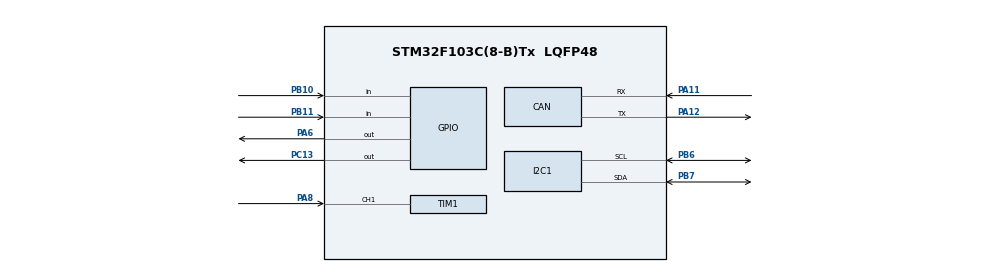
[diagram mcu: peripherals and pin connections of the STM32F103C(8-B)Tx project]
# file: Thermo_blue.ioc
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Mcu.Family=STM32F1
PB10.GPIO_PuPd=GPIO_PULLDOWN
PC13-TAMPER-RTC.Signal=GPIO_Output
PA11.Mode=Master
PA6.PinState=GPIO_PIN_SET
PB11.GPIO_PuPd=GPIO_PULLUP
PB11.Signal=GPIO_Input
CAN.CalculateTimeBit=16000.00
ProjectManager.StackSize=0x400
PA13.Signal=SYS_JTMS-SWDIO
PA12.Signal=CAN_TX
NVIC.USB_HP_CAN1_TX_IRQn=true\:0\:0\:false\:false\:true\:true\:true
CAN.BS1=CAN_BS1_6TQ
TIM1.Prescaler=8-1
SH.S_TIM1_CH1.0=TIM1_CH1,Input_Capture1_from_TI1
ProjectManager.TargetToolchain=EWARM V8.32
RCC.APB2TimFreq_Value=4000000
PB6.Signal=I2C1_SCL
PB6.Mode=I2C
PB10.Signal=GPIO_Input
PB3.Mode=JTAG_4_pins
board=custom
PA15.Mode=JTAG_4_pins
RCC.APB2Freq_Value=2000000
PA6.GPIO_PuPd=GPIO_PULLDOWN
PC13-TAMPER-RTC.PinState=GPIO_PIN_RESET
PA14.Mode=JTAG_4_pins
NVIC.USB_LP_CAN1_RX0_IRQn=true\:0\:0\:false\:false\:true\:true\:true
PB7.Signal=I2C1_SDA
PA8.Signal=S_TIM1_CH1
PA13.Mode=JTAG_4_pins
Mcu.Name=STM32F103C(8-B)Tx
CAN.CalculateTimeQuantum=2000.0
NVIC.TIM1_CC_IRQn=true\:0\:0\:false\:false\:true\:true\:true
PB3.Signal=SYS_JTDO-TRACESWO
Mcu.Package=LQFP48
PA6.Signal=GPIO_Output
PA12.Mode=Master
TIM1.Channel-Input_Capture1_from_TI1=TIM_CHANNEL_1
PB7.Mode=I2C
PA11.Signal=CAN_RX
PA14.Signal=SYS_JTCK-SWCLK
PA15.Signal=SYS_JTDI
ProjectManager.HeapSize=0x200
NVIC.PriorityGroup=NVIC_PRIORITYGROUP_4
RCC.APB2CLKDivider=RCC_HCLK_DIV4
TIM1.Period=0xFFFF-1
PA6.GPIO_Speed=GPIO_SPEED_FREQ_HIGH
RCC.APB1Freq_Value=8000000

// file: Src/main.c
/* USER CODE BEGIN Header */
/**
  ******************************************************************************
  * @file           : main.c
  * @brief          : Main program body
  ******************************************************************************
  * @attention
  *
  * <h2><center>&copy; Copyright (c) 2020 STMicroelectronics.
  * All rights reserved.</center></h2>
  *
  * This software component is licensed by ST under BSD 3-Clause license,
  * the "License"; You may not use this file except in compliance with the
  * License. You may obtain a copy of the License at:
  *                        opensource.org/licenses/BSD-3-Clause
  *
  ******************************************************************************
  */
/* USER CODE END Header */

#include "main.h"
#include "can.h"
#include "i2c.h"
#include "tim.h"
#include "gpio.h"

/* USER CODE BEGIN Includes */
#include <stdio.h>
#include <string.h>
#include "dwt_delay.h"
#include "stm32f1xx_hal_can.h"

#define TRIG_PIN GPIO_PIN_6
#define TRIG_PORT GPIOA
/* USER CODE END Includes */

/* USER CODE BEGIN PTD */

//typedef enum
//{
//  HAL_CAN_STATE_RESET             = 0x00U,  /*!< CAN not yet initialized or disabled */
//  HAL_CAN_STATE_READY             = 0x01U,  /*!< CAN initialized and ready for use   */
//  HAL_CAN_STATE_BUSY              = 0x02U,  /*!< CAN process is ongoing              */
//  HAL_CAN_STATE_BUSY_TX           = 0x12U,  /*!< CAN process is ongoing              */
//  HAL_CAN_STATE_BUSY_RX           = 0x22U,  /*!< CAN process is ongoing              */
//  HAL_CAN_STATE_BUSY_TX_RX        = 0x32U,  /*!< CAN process is ongoing              */
//  HAL_CAN_STATE_TIMEOUT           = 0x03U,  /*!< Timeout state                       */
//  HAL_CAN_STATE_ERROR             = 0x04U   /*!< CAN error state                     */
//
//}HAL_CAN_StateTypeDef;

/* USER CODE END PTD */

void SystemClock_Config(void);

/* USER CODE BEGIN 0 */

CAN_TxHeaderTypeDef    TxHeader1;
//CAN_FilterTypeDef  sFilterConfig;
uint32_t canFifoFulFil;
//HAL_StatusTypeDef HAL_CAN_Transmit_IT(CAN_HandleTypeDef* hcan)

void can_transmit_to(uint8_t *data) {
      /*##-4- Start the Transmission process #####################################*/

  //  TxHeader.TransmitGlobalTime = DISABLE;
      //TxHeader.DLC = sizeof data;
      TxHeader1.DLC = 6;
      TxHeader1.StdId = 0x100;
      //TxHeader.ExtId = 0x1;
      TxHeader1.RTR = CAN_RTR_DATA;
      TxHeader1.IDE = CAN_ID_STD;
//      for (uint8_t i = 0; i < 8; ++i) {
////        TxHeader1.Data[i] = data[i];
//      }
      uint32_t TxMailbox = 0;
      HAL_CAN_AddTxMessage(&hcan, &TxHeader1, data, &TxMailbox);

//      if (hcan.State == HAL_CAN_STATE_LISTENING) {
//        while (hcan.State == HAL_CAN_STATE_LISTENING)
//          __NOP;
//      }
//      else {
//        for (int i = 0; i < 1; i++) {
//          for (int i = 0; i < 15000; i++) {
//            __NOP;
//          }
//        }
//      }
      //HAL_CAN_Transmit_IT(&hcan1);
      //}
//      if (HAL_CAN_AddTxMessage(&hcan, &TxHeader1, data, &TxMailbox) != HAL_OK)
//      {
//              //Error_Handler();
//              canFifoFulFil = 1;
//      }
//      HAL_CAN_GetTxMailboxesFreeLevel(&hcan);

	// Start receiving
	//HAL_CAN_Receive_IT( &hcan, CAN_FIFO0 );
        TxMailbox = 0;
        HAL_CAN_AddTxMessage(&hcan, &TxHeader1, data, &TxMailbox);
  }

//=== CRC ===//
uint8_t crc_8(uint8_t inCrc, uint8_t inData)
{
  uint8_t i;
  uint8_t data;
  data = inCrc ^ inData;
  for ( i = 0; i < 8; i++ )
  {
    if (( data & 0x80 ) != 0 )
    {
      data <<= 1;
      data ^= 0x07;
    }
    else
    {
      data <<= 1;
    }
  }
  return data;
}

uint8_t crc(uint8_t *Data)
{
  uint8_t data = crc_8(0, *Data++);
  data = crc_8(data, *Data++);
  data = crc_8(data, *Data);
  return data;
}

void array_sort(uint16_t *array , uint16_t amount)
{
    // declare some local variables
    uint16_t i=0 , j=0 , temp=0;

    for(i=0 ; i<amount ; i++)
    {
        for(j=0 ; j<amount-1 ; j++)
        {
            if(array[j]>array[j+1])
            {
                temp        = array[j];
                array[j]    = array[j+1];
                array[j+1]  = temp;
            }
        }
    }
}

//=== Convert temp from Kelvin to Celsius
//=== and make value adjustment
float adjust_temp(uint8_t msb_temp, uint8_t lsb_temp) {
  float data_temp = (float)(msb_temp << 8 | lsb_temp);
//  printf("msb %d\n", msb_temp);
//  printf("msb %d\n", lsb_temp);
//  printf("ADJ before %.4F\n", data_temp);
  data_temp = (data_temp - 13658) / 50;
//  printf("ADJ %.4F\n", data_temp);
  float adjusted_temp = 0.0;
  adjusted_temp = data_temp;

//=== Here is the separating point between two calculation
//=== to make it close to mercury thermometer values
//=== NOT high temp alert-point!

//  if (data_temp >= 35.05) {
//    adjusted_temp = (1025 * data_temp) / (1000 - data_temp);
//  }
//  else {
//    adjusted_temp = (283 * 21 * data_temp) / (100 * (21 + data_temp));
//  }
  return adjusted_temp;
}

//=== Find max value form buff in (int)-ed temps
float obtain_max_temp(uint16_t *log_array, uint16_t log_array_size){
  uint16_t max_value = 0;
  for (int i=0; i < log_array_size; i++) {
    if (log_array[i] > max_value) {
      max_value = log_array[i];
    }
  }
  printf("Local Max;");
  return ((float)max_value)/100;
}

//=== Two orders of sensors
//  uint8_t bar_sensors[6] = {0xA2, 0xA4, 0xA6, 0xB2, 0xB4, 0xB6};
  uint8_t bar_sensors[6] = {0xA2, 0xB2, 0xA4, 0xB4, 0xA6, 0xB6};
//uint8_t i2c_adr = 0xB2; // A2, B2, A4, B4, A6, B6
uint32_t mem_adr = 0x07;
uint8_t in_buff[0x04];
uint8_t Err = 0;
float data_fl = 0.0;

//=== Calculate average temp of enviroment in sensors field of view
float calibrate_ambient(uint8_t i2c_adr) {
  uint16_t cycles_value = 1;
  uint16_t avr_array[1]; // = cycles_value
  uint16_t amount = 0;
  uint32_t sum = 0;
  uint16_t ambient_array[50];

  for (uint8_t cycle=0; cycle < cycles_value; cycle++){
    for (uint32_t i=0; i < 50; i++) {
      Err = HAL_I2C_Mem_Read(&hi2c1, i2c_adr, mem_adr, 1, in_buff, 3, 50);
      if (Err == HAL_OK) {
        data_fl = adjust_temp(in_buff[1], in_buff[0]);
//        printf("%.2F\n", data_fl);
        ambient_array[amount] = (uint32_t)(data_fl*100);
        amount++;
      }
      HAL_Delay(40);
    }

    array_sort(ambient_array, amount);
    sum = 0;
    for (uint8_t pos=0; pos<amount; pos++) {
      sum += ambient_array[pos];
    }
    uint16_t avr_ambient_temp = sum / amount;
//    printf("AVR = %d\n", avr_ambient_temp);
    avr_array[cycle] = avr_ambient_temp;
    amount = 0;
  }

  sum = 0;
  for (uint8_t pos=0; pos < cycles_value; pos++) {
      sum += avr_array[pos];
//      printf("Ambient AVR = %d\n", avr_array[pos]);
    }
  uint16_t avr_ambient_temp = sum / cycles_value;

//  printf("Final AVR = %d\n", avr_ambient_temp);
//  printf("Ambient %d, %d...\n", ambient_array[2], ambient_array[3]);

  return ((float)avr_ambient_temp / 100);
}

//=== Function to calculate average ambient temp
float get_avr_ambient() {
  HAL_Delay(300);
  float ambient_avr[6];
  for (int i=0; i < 6; i++) {
    ambient_avr[i] = calibrate_ambient(bar_sensors[i]);
    printf("At 0x%X ambient_avr = %.2F\n", bar_sensors[i], ambient_avr[i]);
  }

  float sum = 0;
  for (uint8_t pos=0; pos < 6; pos++) {
      sum += ambient_avr[pos];
//      printf("sum = ambient_avr = %.2F\n", ambient_avr[pos]);
  }

  float avr_ambient_temp = sum / 6;
  printf("\nGlobal Ambient AVR = %.2F\n", avr_ambient_temp);

  for (uint8_t pos=0; pos < 6; pos++) {
    printf("Disp: %.2F\n", ambient_avr[pos] - avr_ambient_temp);
  }
  return avr_ambient_temp;
}

//=== Set new address for sensor
//=== (All connected sensors will recieve this address)
void set_new_addr(uint8_t new_adr, int32_t mem_adr, uint8_t *in_buff)
{
//  uint8_t Err = 0;
  uint8_t start_adr = new_adr - 4;
  uint8_t stop_adr = new_adr + 4;
  uint8_t buff[4] = {0x2E, 0x00, 0x00};
  buff[3] = crc(buff);
  HAL_I2C_Master_Transmit(&hi2c1, 0x00, buff, 4, 100);
  HAL_Delay(10);
  uint8_t buff2[4] = {0x2E, new_adr, 0x00};
  printf("\n\n new_adr = %X\n\n", new_adr);
  printf("\n\n start_adr = %X\n\n", start_adr);
  printf("\n\n stop_adr = %X\n\n", stop_adr);
  printf("\n\n");
  buff2[3] = crc(buff2);
  HAL_I2C_Master_Transmit(&hi2c1, 0x00, buff2, 4, 100);
  for (uint16_t i=start_adr; i<=stop_adr; i++){
    HAL_Delay(50);
    Err = HAL_I2C_Mem_Read(&hi2c1, i<<1, mem_adr, 1, in_buff, 4, 100);
    if (Err == HAL_OK)
      printf("Done! %X\n\n", i);
    else
      printf("No\n\n");
  }
}
/* USER CODE END 0 */

int main(void)
{

  /* MCU Configuration--------------------------------------------------------*/

  /* Reset of all peripherals, Initializes the Flash interface and the Systick. */
  HAL_Init();

  /* USER CODE BEGIN Init */
  DWT_Init();
  /* USER CODE END Init */

  /* Configure the system clock */
  SystemClock_Config();

  /* USER CODE BEGIN SysInit */
  // --- Achtung! --- Reset the I2C before use! Bug in STM32F100 !!!
    __HAL_RCC_I2C1_CLK_ENABLE();
    HAL_Delay(100);
    __HAL_RCC_I2C1_FORCE_RESET();
    HAL_Delay(100);
    __HAL_RCC_I2C1_RELEASE_RESET();
    HAL_Delay(100);
  /* USER CODE END SysInit */

  /* Initialize all configured peripherals */
  MX_GPIO_Init();
  MX_I2C1_Init();
  MX_TIM1_Init();
  MX_CAN_Init();
  inbus_init();

  /* USER CODE BEGIN 2 */
  printf("======= 000 =======\n\n");

  HAL_TIM_IC_Start_IT(&htim1, TIM_CHANNEL_1);
  HAL_Delay(300);

//=== Number of sensors in use
  uint8_t sensor_amount = 6;

  float sum_data = 0;
  uint16_t log_array_size = 300;
  uint16_t log_array[300];
  float log_buff[6];
  float max_temp_on_sensor = 0;
  uint16_t log_array_pos = 0;

  uint32_t measure_counter = 0;

//=== CAN test transmit
  uint8_t TxData[8];
  TxData[0] = 0x01;
  TxData[1] = 0xFE;
  TxData[2] = 1;
  TxData[3] = 0;
  TxData[4] = 0;
  TxData[5] = 0;
  TxData[6] = 0;
  TxData[7] = 0;
  can_transmit_to(TxData);

  printf("Can");

//=== Set new_adr as new I2C address
//  uint8_t new_adr = i2c_adr;
//  set_new_addr(new_adr>>1, mem_adr, in_buff);

//=== Temp ambient calibration
//  HAL_Delay(300);
//  float ambient_avr[6];
//  for (int i=0; i < 6; i++) {
//    ambient_avr[i] = calibrate_ambient(bar_sensors[i]);
//    printf("At 0x%X ambient_avr = %.2F\n", bar_sensors[i], ambient_avr[i]);
//  }
//
//  float sum = 0;
//  for (uint8_t pos=0; pos < 6; pos++) {
//      sum += ambient_avr[pos];
////      printf("sum = ambient_avr = %.2F\n", ambient_avr[pos]);
//  }
//
//  float avr_ambient_temp = sum / 6;
//  printf("\nGlobal Ambient AVR = %.2F\n", avr_ambient_temp);
//
//  for (uint8_t pos=0; pos < 6; pos++) {
//    printf("Disp: %.2F\n", ambient_avr[pos] - avr_ambient_temp);
//  }
//  printf("\n");
  float avr_ambient_temp = get_avr_ambient();
  printf("\n");

  /* USER CODE END 2 */

  /* Infinite loop */
  /* USER CODE BEGIN WHILE */
  while (1)
  {
    printf("%d;", measure_counter++);

    for (uint8_t i=0; i<sensor_amount; i++) {

    //=== Read data from sensor via I2C
        Err = HAL_I2C_Mem_Read(&hi2c1, bar_sensors[i], mem_adr, 1, in_buff, 3, 0x100);
        HAL_Delay(5); // Delay for I2C responce

    //=== Check if there is no error in I2C read
        if (Err == HAL_OK) {

          //=== Read 2 bytes and convert to Celsius
              data_fl = adjust_temp(in_buff[1], in_buff[0]);

          //=== Check if temp close to ambient
//              if ((data_fl <= (avr_ambient_temp * 1.005)) & (data_fl >= (avr_ambient_temp * 0.995))) {
//                data_fl = avr_ambient_temp;
//              }

          //=== Set the value from sensor with max temp
//              if (max_data < data_fl) {
//                  max_data = data_fl;
//              }
//              float_max_data = max_data;

          //=== Print temperature in terminal
              //		  printf("    Adj %.2F\n", data_fl);
//              printf("%X;%.2F\n", bar_sensors[i], data_fl);
                printf("%.2F;", data_fl);
              sum_data += data_fl;
              log_buff[i] = data_fl;

//              new_max_data = (int)(data_fl*100);
//              printf("    NewAdj ==%d==\n\n", new_max_data);

          //=== Read ambient Temp - Ta
//              HAL_I2C_Mem_Read(&hi2c1, i2c_adr, mem_adr - 1, 1, in_buff, 3, 100);
//              data_fl = adjust_temp(in_buff[1], in_buff[0]);
//              ambient_data = (int)(data_fl*100);
//              diff_data = float_max_data - ambient_data;
//              float_amb_data = data_fl;
//              printf("Ta: %.2F\n", data_fl);

//              float_max_data = max_data;
//              diff_float_data = float_max_data - float_amb_data;

        }
        else {
              printf("\nError on I2C. Address %X\n", bar_sensors[i]);
        }
//        HAL_Delay(20);
    }

//=== Check for threshold above avr_ambient_temp after
//=== every full sensors cycleto catch pass

    if ((sum_data / sensor_amount >= (avr_ambient_temp * 1.01))
        && (log_array_pos +sensor_amount < log_array_size)) {

    //=== Fill buff of previous temp with float to int
      for (int i=0; i < sensor_amount; i++) {
        log_array[log_array_pos+i] = (int)(log_buff[i]*100);
//        printf("log %d   at pos %d\n", log_array[log_array_pos+i], log_array_pos+i);
      }
      log_array_pos += sensor_amount;
    }
    else
    {
    //=== Check if high temp not a noise pump
      if (log_array_pos >= 40) {

      //=== Find max temp in last measures
        max_temp_on_sensor = obtain_max_temp(log_array, log_array_pos);
//        printf("\n===== %0.3F = at %d===\n\n", max_temp_on_sensor, measure_counter);
        printf("%0.3F;", max_temp_on_sensor);

      //=== Send alarm msg to CPU board via CAN
        if (max_temp_on_sensor >= avr_ambient_temp) {
          uint8_t TxData[8];
          TxData[0] = 0x01;
          TxData[1] = 0xFE;
          TxData[2] = 1;
          TxData[3] = 0;
          TxData[4] = 0;
          TxData[5] = 0;
          TxData[6] = 0;
          TxData[7] = 0;
          can_transmit_to(TxData);
        }
      }
      log_array_pos = 0;
    }

//=== Print average temp
    printf("%.3F\n", sum_data / sensor_amount);
//    printf("%.3F;%d\n", sum_data / sensor_amount, measure_counter);
    sum_data = 0;

//    printf("\n");
//    float_max_data = max_data;
//    diff_float_data = float_max_data - float_amb_data;
//    new_max_data = (int)(max_data*100);
//    printf("\n");
//    printf("-%d- MaxAdj ==%.2F==\n", measure_counter++, max_data);
//    printf("%.2F\n", max_data);
//    max_data = 0.0;
  }
    /* USER CODE END WHILE */

}

void SystemClock_Config(void)
{
  RCC_OscInitTypeDef RCC_OscInitStruct = {0};
  RCC_ClkInitTypeDef RCC_ClkInitStruct = {0};

  /** Initializes the CPU, AHB and APB busses clocks
  */
  RCC_OscInitStruct.OscillatorType = RCC_OSCILLATORTYPE_HSI;
  RCC_OscInitStruct.HSIState = RCC_HSI_ON;
  RCC_OscInitStruct.HSICalibrationValue = RCC_HSICALIBRATION_DEFAULT;
  RCC_OscInitStruct.PLL.PLLState = RCC_PLL_NONE;
  if (HAL_RCC_OscConfig(&RCC_OscInitStruct) != HAL_OK)
  {
    Error_Handler();
  }
  /** Initializes the CPU, AHB and APB busses clocks
  */
  RCC_ClkInitStruct.ClockType = RCC_CLOCKTYPE_HCLK|RCC_CLOCKTYPE_SYSCLK
                              |RCC_CLOCKTYPE_PCLK1|RCC_CLOCKTYPE_PCLK2;
  RCC_ClkInitStruct.SYSCLKSource = RCC_SYSCLKSOURCE_HSI;
  RCC_ClkInitStruct.AHBCLKDivider = RCC_SYSCLK_DIV1;
  RCC_ClkInitStruct.APB1CLKDivider = RCC_HCLK_DIV1;
  RCC_ClkInitStruct.APB2CLKDivider = RCC_HCLK_DIV4;

  if (HAL_RCC_ClockConfig(&RCC_ClkInitStruct, FLASH_LATENCY_0) != HAL_OK)
  {
    Error_Handler();
  }
}

/* USER CODE BEGIN 4 */

//HAL_CAN_TxCpltCallback() {
////  HAL_CAN_Transmit_IT(); // Rearm transmit
//  HAL_CAN_Transmit();
//}

//HAL_StatusTypeDef HAL_CAN_Transmit_IT(CAN_HandleTypeDef* hcan)
//{
//  uint32_t  transmitmailbox = CAN_TXSTATUS_NOMAILBOX;
//
//  /* Check the parameters */
//  assert_param(IS_CAN_IDTYPE(hcan->pTxMsg->IDE));
//  assert_param(IS_CAN_RTR(hcan->pTxMsg->RTR));
//  assert_param(IS_CAN_DLC(hcan->pTxMsg->DLC));
//
//  if(((hcan->Instance->TSR&CAN_TSR_TME0) == CAN_TSR_TME0) || \
//     ((hcan->Instance->TSR&CAN_TSR_TME1) == CAN_TSR_TME1) || \
//     ((hcan->Instance->TSR&CAN_TSR_TME2) == CAN_TSR_TME2))
//  {
//    /* Process Locked */
//    __HAL_LOCK(hcan);
//
//    /* Select one empty transmit mailbox */
//    if((hcan->Instance->TSR&CAN_TSR_TME0) == CAN_TSR_TME0)
//    {
//      transmitmailbox = CAN_TXMAILBOX_0;
//    }
//    else if((hcan->Instance->TSR&CAN_TSR_TME1) == CAN_TSR_TME1)
//    {
//      transmitmailbox = CAN_TXMAILBOX_1;
//    }
//    else
//    {
//      transmitmailbox = CAN_TXMAILBOX_2;
//    }
//
//    /* Set up the Id */
//    hcan->Instance->sTxMailBox[transmitmailbox].TIR &= CAN_TI0R_TXRQ;
//    if(hcan->pTxMsg->IDE == CAN_ID_STD)
//    {
//      assert_param(IS_CAN_STDID(hcan->pTxMsg->StdId));
//      hcan->Instance->sTxMailBox[transmitmailbox].TIR |= ((hcan->pTxMsg->StdId << 21) | \
//                                                hcan->pTxMsg->RTR);
//    }
//    else
//    {
//      assert_param(IS_CAN_EXTID(hcan->pTxMsg->ExtId));
//      hcan->Instance->sTxMailBox[transmitmailbox].TIR |= ((hcan->pTxMsg->ExtId << 3) | \
//                                                hcan->pTxMsg->IDE | \
//                                                hcan->pTxMsg->RTR);
//    }
//
//    /* Set up the DLC */
//    hcan->pTxMsg->DLC &= (uint8_t)0x0000000FU;
//    hcan->Instance->sTxMailBox[transmitmailbox].TDTR &= (uint32_t)0xFFFFFFF0U;
//    hcan->Instance->sTxMailBox[transmitmailbox].TDTR |= hcan->pTxMsg->DLC;
//
//    /* Set up the data field */
//    hcan->Instance->sTxMailBox[transmitmailbox].TDLR = (((uint32_t)hcan->pTxMsg->Data[3] << 24) |
//                                           ((uint32_t)hcan->pTxMsg->Data[2] << 16) |
//                                           ((uint32_t)hcan->pTxMsg->Data[1] << 8) |
//                                           ((uint32_t)hcan->pTxMsg->Data[0]));
//    hcan->Instance->sTxMailBox[transmitmailbox].TDHR = (((uint32_t)hcan->pTxMsg->Data[7] << 24) |
//                                           ((uint32_t)hcan->pTxMsg->Data[6] << 16) |
//                                           ((uint32_t)hcan->pTxMsg->Data[5] << 8) |
//                                           ((uint32_t)hcan->pTxMsg->Data[4]));
//
//
//
//    if(hcan->State == HAL_CAN_STATE_BUSY_RX)
//    {
//      /* Change CAN state */
//      hcan->State = HAL_CAN_STATE_BUSY_TX_RX;
//    }
//    else
//    {
//      /* Change CAN state */
//      hcan->State = HAL_CAN_STATE_BUSY_TX;
//    }
//
//    /* Set CAN error code to none */
//    hcan->ErrorCode = HAL_CAN_ERROR_NONE;
//
//    /* Process Unlocked */
//    __HAL_UNLOCK(hcan);
//
//    /* Enable Error warning, Error passive, Bus-off,
//       Last error and Error Interrupts */
//    __HAL_CAN_ENABLE_IT(hcan, CAN_IT_EWG |
//                              CAN_IT_EPV |
//                              CAN_IT_BOF |
//                              CAN_IT_LEC |
//                              CAN_IT_ERR |
//							  CAN_IT_TME);
//
//    /* Request transmission */
//    hcan->Instance->sTxMailBox[transmitmailbox].TIR |= CAN_TI0R_TXRQ;
//  }
//  else
//  {
//    /* Change CAN state */
//    hcan->State = HAL_CAN_STATE_ERROR;
//
//    /* Return function status */
//    return HAL_ERROR;
//  }
//
//  return HAL_OK;
//}
/* USER CODE END 4 */

void Error_Handler(void)
{
}

/************************ (C) COPYRIGHT STMicroelectronics *****END OF FILE****/
